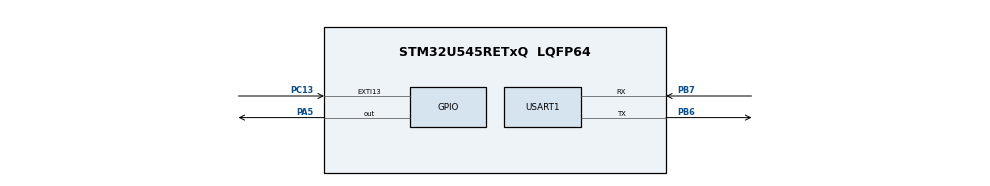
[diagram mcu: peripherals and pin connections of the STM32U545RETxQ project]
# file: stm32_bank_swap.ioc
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CORTEX_M33_NS.userName=CORTEX_M33
FLASH.OB_DBANK_UI=OB_DUALBANK_DUAL_NOUPD
FLASH.OB_User_Configuration_active=false
GPDMA1.CIRCULARMODE_GPDMACH1=ENABLE
GPDMA1.DESTINC_GPDMACH1=DMA_DINC_INCREMENTED
GPDMA1.DIRECTION_GPDMACH0=DMA_MEMORY_TO_PERIPH
GPDMA1.IPHANDLE_GPDMACH0-SIMPLEREQUEST_GPDMACH0=__NULL
GPDMA1.IPHANDLE_GPDMACH1-SIMPLEREQUEST_GPDMACH1=__NULL
GPDMA1.PRIORITY_GPDMACH0=DMA_LOW_PRIORITY_HIGH_WEIGHT
GPDMA1.REQUEST_GPDMACH0=GPDMA1_REQUEST_USART1_TX
GPDMA1.REQUEST_GPDMACH1=GPDMA1_REQUEST_USART1_RX
GPDMA1.SRCINC_GPDMACH0=DMA_SINC_INCREMENTED
GPDMA1.TRANSFERALLOCATEDPORTDEST_GPDMACH0=DMA_DEST_ALLOCATED_PORT1
GPDMA1.TRANSFERALLOCATEDPORTDEST_GPDMACH1=DMA_DEST_ALLOCATED_PORT1
Mcu.Family=STM32U5
Mcu.Name=STM32U545RETxQ
Mcu.Package=LQFP64
NUCLEO-U545RE-Q.BUTTON=1
NUCLEO-U545RE-Q.Bsp_Common_DEMO=true
NUCLEO-U545RE-Q.LD2=true
NUCLEO-U545RE-Q.VCP=false
NVIC.EXTI13_IRQn=true\:0\:0\:false\:false\:true\:false\:true\:true
NVIC.GPDMA1_Channel0_IRQn=true\:0\:0\:false\:false\:true\:false\:true\:true
NVIC.GPDMA1_Channel1_IRQn=true\:0\:0\:false\:false\:true\:false\:true\:true
NVIC.PriorityGroup=NVIC_PRIORITYGROUP_4
NVIC.USART1_IRQn=true\:0\:0\:false\:false\:true\:true\:true\:true
PA13\ (JTMS/SWDIO).Mode=Serial_Wire
PA13\ (JTMS/SWDIO).Signal=DEBUG_JTMS-SWDIO
PA14\ (JTCK/SWCLK).Mode=Serial_Wire
PA14\ (JTCK/SWCLK).Signal=DEBUG_JTCK-SWCLK
PA5.Signal=GPIO_Output
PB6.GPIO_Speed=GPIO_SPEED_FREQ_HIGH
PB6.Mode=Asynchronous
PB6.Signal=USART1_TX
PB7.GPIO_Speed=GPIO_SPEED_FREQ_HIGH
PB7.Mode=Asynchronous
PB7.Signal=USART1_RX
PC13.Signal=GPXTI13
PWR.PowerMode=PWR_SMPS_SUPPLY
ProjectManager.HeapSize=0x200
ProjectManager.StackSize=0x400
ProjectManager.TargetToolchain=STM32CubeIDE
RCC.ADCFreq_Value=16000000
RCC.DACCLockSelectionVirtual=RCC_DAC1CLKSOURCE_LSI
RCC.DACCLockSelectionVirtualString=RCC_DAC1CLKSOURCE_LSI
RCC.EPOD_VALUE=4000000
RCC.HSE_VALUE=16000000
RCC.HSI48_VALUE=48000000
RCC.HSI_VALUE=16000000
RCC.LSE_VALUE=32768
RCC.LSIDIV_VALUE=32000
RCC.MSI_VALUE=4000000
RCC.USART1CLockSelectionVirtual=RCC_USART1CLKSOURCE_SYSCLK
RCC.USBFreq_Value=48000000
RCC.VCOOutputFreq_Value=516000000
USART1.VirtualMode-Asynchronous=VM_ASYNC
VP_FLASH_SIG_Activate_FlashIP.Mode=Activate_FlashIP
VP_GPDMA1_VS_GPDMACH0.Mode=SIMPLEREQUEST_GPDMACH0
VP_GPDMA1_VS_GPDMACH1.Mode=SIMPLEREQUEST_GPDMACH1
VP_ICACHE_VS_ICACHE.Mode=DirectMappedCache
VP_LPBAMQUEUE_VS_QUEUE.Mode=QUEUEMODE
VP_MEMORYMAP_VS_MEMORYMAP.Mode=CurAppReg
VP_NUCLEO-U545RE-Q_VS_BSP_COMMON.Mode=COMMON
VP_PWR_VS_LPOM.Mode=PowerOptimisation
VP_PWR_VS_SECSignals.Mode=Security/Privilege
board=NUCLEO-U545RE-Q

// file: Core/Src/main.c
/* USER CODE BEGIN Header */
/**
  ******************************************************************************
  * @file           : main.c
  * @brief          : Main program body
  ******************************************************************************
  * @attention
  *
  * Copyright (c) 2024 STMicroelectronics.
  * All rights reserved.
  *
  * This software is licensed under terms that can be found in the LICENSE file
  * in the root directory of this software component.
  * If no LICENSE file comes with this software, it is provided AS-IS.
  *
  ******************************************************************************
  */
/* USER CODE END Header */
#include "main.h"
#include "gpdma.h"
#include "icache.h"
#include "memorymap.h"
#include "usart.h"
#include "gpio.h"

/* USER CODE BEGIN Includes */
#include "flash.h"
#include "menu.h"
#include "stdio.h"

/* USER CODE END Includes */

__IO uint32_t BspButtonState = BUTTON_RELEASED;

/* USER CODE BEGIN PV */
FLASH_OBProgramInitTypeDef OBInit;

/* USER CODE END PV */

void SystemClock_Config(void);
static void SystemPower_Config(void);
/* USER CODE BEGIN PFP */
int __io_putchar(int ch);

/* USER CODE END PFP */

int main(void)
{

  /* MCU Configuration--------------------------------------------------------*/

  /* Reset of all peripherals, Initializes the Flash interface and the Systick. */
  HAL_Init();

  /* Configure the system clock */
  SystemClock_Config();

  /* Configure the System Power */
  SystemPower_Config();

  /* Initialize all configured peripherals */
  MX_GPDMA1_Init();
  MX_GPIO_Init();
  MX_USART1_UART_Init();
  MX_ICACHE_Init();

  /* Initialize led */
  BSP_LED_Init(LED_GREEN);

  /* Initialize USER push-button, will be used to trigger an interrupt each time it's pressed.*/
  BSP_PB_Init(BUTTON_USER, BUTTON_MODE_EXTI);

  /* USER CODE BEGIN BSP */
  Main_Menu();
  printf("Press BUTTON_USER to swap Banks\r\n\n");

  /* USER CODE END BSP */

  /* Infinite loop */
  /* USER CODE BEGIN WHILE */
  while (1)
  {
	  /* Wait for BUTTON_USER is released */
	  if (BSP_PB_GetState(BUTTON_USER) == SET){
		  while (BSP_PB_GetState(BUTTON_USER) == SET);
		  Bank_Swap();
	  }else{
		  /* Toggle LED1 */
		  BSP_LED_Toggle(LED_GREEN);
		  /* Insert 100 ms delay */
		  HAL_Delay(100);
	  }

    /* USER CODE END WHILE */

  }
}

void SystemClock_Config(void)
{
  RCC_OscInitTypeDef RCC_OscInitStruct = {0};
  RCC_ClkInitTypeDef RCC_ClkInitStruct = {0};

  /** Configure the main internal regulator output voltage
  */
  if (HAL_PWREx_ControlVoltageScaling(PWR_REGULATOR_VOLTAGE_SCALE4) != HAL_OK)
  {
    Error_Handler();
  }

  /** Initializes the CPU, AHB and APB buses clocks
  */
  RCC_OscInitStruct.OscillatorType = RCC_OSCILLATORTYPE_MSI;
  RCC_OscInitStruct.MSIState = RCC_MSI_ON;
  RCC_OscInitStruct.MSICalibrationValue = RCC_MSICALIBRATION_DEFAULT;
  RCC_OscInitStruct.MSIClockRange = RCC_MSIRANGE_4;
  RCC_OscInitStruct.PLL.PLLState = RCC_PLL_NONE;
  if (HAL_RCC_OscConfig(&RCC_OscInitStruct) != HAL_OK)
  {
    Error_Handler();
  }

  /** Initializes the CPU, AHB and APB buses clocks
  */
  RCC_ClkInitStruct.ClockType = RCC_CLOCKTYPE_HCLK|RCC_CLOCKTYPE_SYSCLK
                              |RCC_CLOCKTYPE_PCLK1|RCC_CLOCKTYPE_PCLK2
                              |RCC_CLOCKTYPE_PCLK3;
  RCC_ClkInitStruct.SYSCLKSource = RCC_SYSCLKSOURCE_MSI;
  RCC_ClkInitStruct.AHBCLKDivider = RCC_SYSCLK_DIV1;
  RCC_ClkInitStruct.APB1CLKDivider = RCC_HCLK_DIV1;
  RCC_ClkInitStruct.APB2CLKDivider = RCC_HCLK_DIV1;
  RCC_ClkInitStruct.APB3CLKDivider = RCC_HCLK_DIV1;

  if (HAL_RCC_ClockConfig(&RCC_ClkInitStruct, FLASH_LATENCY_0) != HAL_OK)
  {
    Error_Handler();
  }
}

/**
  * @brief Power Configuration
  * @retval None
  */
static void SystemPower_Config(void)
{

  /*
   * Switch to SMPS regulator instead of LDO
   */
  if (HAL_PWREx_ConfigSupply(PWR_SMPS_SUPPLY) != HAL_OK)
  {
    Error_Handler();
  }
}

/* USER CODE BEGIN 4 */
/**
  * @brief  Retarget printf to UART 1
  * @retval int
  */
int __io_putchar(int ch){
	uart_write_byte(&huart_p1, ch);
	return ch;
}

void Bank_Swap(void){
	/* Unlock the User Flash area */
	HAL_FLASH_Unlock();
	HAL_FLASH_OB_Unlock();
	/* Get the boot configuration status */
	HAL_FLASHEx_OBGetConfig(&OBInit);
	/* Check Swap Flash banks  status */
	if ((OBInit.USERConfig & OB_SWAP_BANK_ENABLE) == OB_SWAP_BANK_DISABLE){
		/*Swap to bank2 */
		/*Set OB SWAP_BANK_OPT to swap Bank2*/
		OBInit.OptionType = OPTIONBYTE_USER;
		OBInit.USERType = OB_USER_SWAP_BANK;;
		OBInit.USERConfig = OB_SWAP_BANK_ENABLE;
		HAL_FLASHEx_OBProgram(&OBInit);
		/* Launch Option bytes loading */
		HAL_FLASH_OB_Launch();
	}else{
		/* Swap to bank1 */
		/*Set OB SWAP_BANK_OPT to swap Bank1*/
		OBInit.OptionType = OPTIONBYTE_USER;
		OBInit.USERType = OB_USER_SWAP_BANK;
		OBInit.USERConfig = OB_SWAP_BANK_DISABLE;
		HAL_FLASHEx_OBProgram(&OBInit);
		/* Launch Option bytes loading */
		HAL_FLASH_OB_Launch();
	}
}

/* USER CODE END 4 */

/**
  * @brief BSP Push Button callback
  * @param Button Specifies the pressed button
  * @retval None
  */
void BSP_PB_Callback(Button_TypeDef Button)
{
  if (Button == BUTTON_USER)
  {
    BspButtonState = BUTTON_PRESSED;
  }
}

void Error_Handler(void)
{
  __disable_irq();
  while (1)
  {
  }
}
